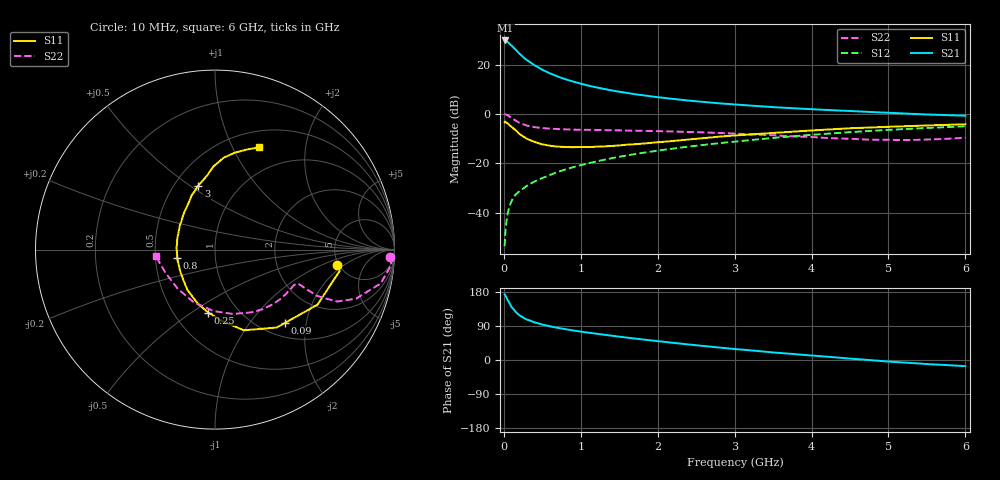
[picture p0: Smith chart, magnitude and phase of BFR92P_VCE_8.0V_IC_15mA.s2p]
! Infineon Technologies  Discrete & RF Semiconductors
! BFR92P
! VCE =  8.0 V,  IC =  15 mA
! Common Emitter S-Parameters:  Apr 2014
# GHz  S  MA  R  50
!  f  S11  S21  S12  S22
! GHz  MAG  ANG  MAG  ANG  MAG  ANG  MAG  ANG
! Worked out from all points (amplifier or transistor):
!   77 points, 10 MHz to 6 GHz, reference 50 ohm
!   highest |S21| = 29.8 dB at 20 MHz (marker M1)
!   |S21| within 3 dB of that: start of sweep to 129.3 MHz
!   unconditionally stable (mu >= 1): 588.2 MHz to 2.288 GHz
!   at 130 MHz: K = 0.46, MSG = 30.2 dB, |S12| = -33.7 dB
!   at 2.2 GHz: K = 1.01, MAG = 9.6 dB, |S12| = -14.0 dB
!   at 6 GHz: K = 0.85, MSG = 2.1 dB, |S12| = -4.9 dB
!   S11 on the Smith chart (normalised r, x): 10 MHz: 4.84, -1.52; 90 MHz: 1.26, -1.51; 250 MHz: 0.73, -0.59; 800 MHz: 0.65, -0.06; 3 GHz: 0.65, +0.54; 6 GHz: 0.69, +1.28
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0.01  0.6844 -7.0  30.57 173.3  0.0021 84.3  0.9746 -2.4
0.02  0.7047 -9.7  30.98 170.4  0.0039 87.6  0.9866 -4.8
0.05  0.6483 -28.2  29.03 157.9  0.0098 79.6  0.9426 -11.5
0.09  0.5645 -46.4  25.06 143.9  0.0157 70.3  0.8539 -17.4
0.1  0.554 -51.6  24.35 139.8  0.0172 69.0  0.8334 -19.1
0.15  0.4776 -70.3  20.42 127.8  0.0231 66.5  0.741 -23.0
0.2  0.3986 -84.6  16.91 118.3  0.027 64.9  0.666 -23.9
0.25  0.3529 -96.1  14.34 112.2  0.0309 64.9  0.621 -24.4
0.3  0.3167 -107.3  12.39 106.6  0.0351 64.8  0.5827 -23.8
0.4  0.2725 -124.3  9.685 99.2  0.043 67.1  0.5414 -23.1
0.5  0.2436 -136.7  7.896 93.6  0.0505 68.2  0.5192 -22.6
0.6  0.2276 -148.8  6.657 88.9  0.0583 69.3  0.5051 -22.4
0.7  0.2183 -158.9  5.759 84.9  0.0669 69.9  0.496 -22.5
0.8  0.2152 -168.1  5.071 81.3  0.0752 70.1  0.4887 -23.3
1.1  0.2138 171.1  3.766 72.1  0.1009 70.1  0.478 -26.3
1.5  0.2309 149.6  2.833 61.6  0.1359 68.4  0.4666 -31.8
2.1  0.2761 126.7  2.108 47.6  0.1903 64.2  0.4462 -41.8
3  0.3679 104.7  1.565 28.9  0.2755 56.1  0.4022 -60.5
3.1  0.3763 102.9  1.525 27.3  0.2856 54.8  0.3945 -63.1
4.1  0.4738 89.6  1.231 10.3  0.3886 43.8  0.3342 -95.2
5.1  0.558 77.0  1.044 -5.4  0.4863 30.3  0.2983 -138.2
6  0.621 66.5  0.926 -16.2  0.5657 17.9  0.3325 -174.0
